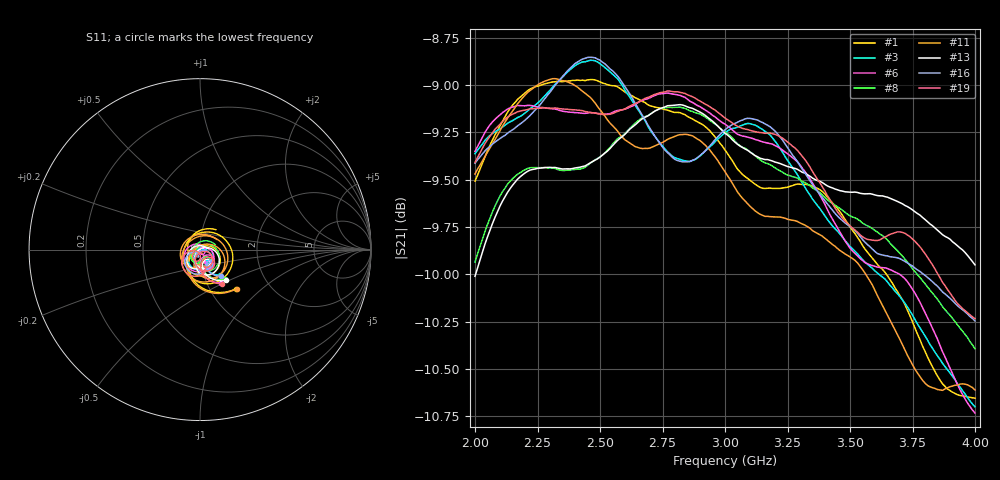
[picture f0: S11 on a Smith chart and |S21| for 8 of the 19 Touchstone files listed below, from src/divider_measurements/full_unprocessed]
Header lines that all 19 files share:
!Agilent Technologies,N5224A,MY51441093,A.09.90.21
!Agilent N5224A: A.09.90.21
!Correction: S11(Full 4 Port(1,2,3,4))
!S12(Full 4 Port(1,2,3,4))
!S13(Full 4 Port(1,2,3,4))
!S14(Full 4 Port(1,2,3,4))
!S21(Full 4 Port(1,2,3,4))
!S22(Full 4 Port(1,2,3,4))
!S23(Full 4 Port(1,2,3,4))
!S24(Full 4 Port(1,2,3,4))
!S31(Full 4 Port(1,2,3,4))
!S32(Full 4 Port(1,2,3,4))
!S33(Full 4 Port(1,2,3,4))
!S34(Full 4 Port(1,2,3,4))
!S41(Full 4 Port(1,2,3,4))
!S42(Full 4 Port(1,2,3,4))
!S43(Full 4 Port(1,2,3,4))
!S44(Full 4 Port(1,2,3,4))
!S4P File: Measurements: <S11,S12,S13,S14>,
!<S21,S22,S23,S24>,
!<S31,S32,S33,S34>,
!<S41,S42,S43,S44>:
# Hz S  dB  R 50
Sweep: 2 GHz to 4 GHz
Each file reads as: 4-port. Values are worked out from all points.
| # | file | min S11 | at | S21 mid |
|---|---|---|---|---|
| 1 | L_00000000.s4p | -36.6 dB | 2.28 GHz | -9.3 dB at 3 GHz |
| 2 | L_00010203.s4p | -28.2 dB | 2.27 GHz | -9.4 dB at 3 GHz |
| 3 | L_00020406.s4p | -41.0 dB | 2.65 GHz | -9.3 dB at 3 GHz |
| 4 | L_00030609.s4p | -36.9 dB | 2.76 GHz | -9.2 dB at 3 GHz |
| 5 | L_00040812.s4p | -55.3 dB | 2.66 GHz | -9.2 dB at 3 GHz |
| 6 | L_00051015.s4p | -54.4 dB | 3.97 GHz | -9.2 dB at 3 GHz |
| 7 | L_03020100.s4p | -29.5 dB | 2.27 GHz | -9.5 dB at 3 GHz |
| 8 | L_09060300.s4p | -35.6 dB | 2.76 GHz | -9.2 dB at 3 GHz |
| 9 | L_15100500.s4p | -63.5 dB | 3.96 GHz | -9.6 dB at 3 GHz |
| 10 | R_00000000.s4p | -44.4 dB | 2.29 GHz | -9.4 dB at 3 GHz |
| 11 | R_00010203.s4p | -33.1 dB | 2.28 GHz | -9.5 dB at 3 GHz |
| 12 | R_00020406.s4p | -44.7 dB | 2.67 GHz | -9.6 dB at 3 GHz |
| 13 | R_00030609.s4p | -48.1 dB | 2.78 GHz | -9.3 dB at 3 GHz |
| 14 | R_00051015.s4p | -40.0 dB | 2.69 GHz | -9.6 dB at 3 GHz |
| 15 | R_03020100.s4p | -31.5 dB | 2.28 GHz | -9.4 dB at 3 GHz |
| 16 | R_06040200.s4p | -40.2 dB | 2.66 GHz | -9.2 dB at 3 GHz |
| 17 | R_09060300.s4p | -46.3 dB | 2.78 GHz | -9.2 dB at 3 GHz |
| 18 | R_12080400.s4p | -35.7 dB | 2.66 GHz | -9.1 dB at 3 GHz |
| 19 | R_15100500.s4p | -35.7 dB | 2.69 GHz | -9.2 dB at 3 GHz |
